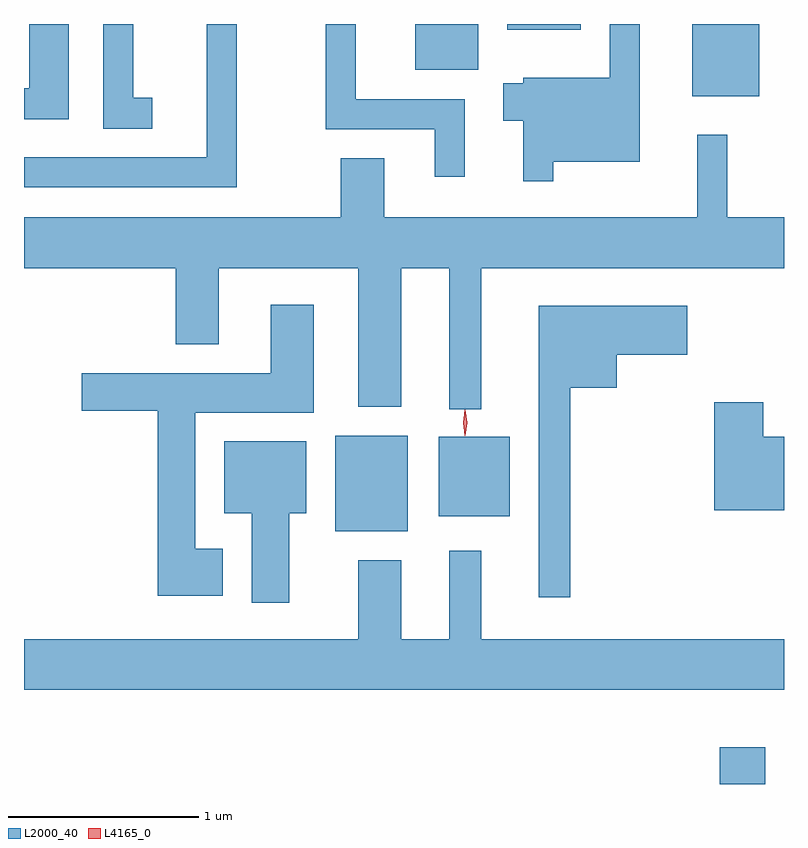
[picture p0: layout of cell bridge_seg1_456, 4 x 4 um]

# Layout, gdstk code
import gdstk
lib = gdstk.Library(unit=1e-6, precision=1e-09)
def R(c, l, rs):  # rectangles x0, y0, x1, y1
    for r in rs: c.add(gdstk.rectangle(r[:2], r[2:], *l))
def P(c, l, *ps):  # polygons
    for p in ps: c.add(gdstk.Polygon(p, *l))
L2000_40 = (2000, 40)
L4165_0 = (4165, 0)

bridge_seg1_456 = lib.new_cell('bridge_seg1_456')
R(bridge_seg1_456, L2000_40, [(206.046,876.881,206.284,877.074), (204.021,878.211,204.404,878.714), (204.566,878.291,204.939,878.709), (205.901,880.501,206.254,880.881), (204.441,880.641,204.774,880.881), (204.926,880.851,205.314,880.881)])
P(bridge_seg1_456, L2000_40, [(203.504,880.881),(203.346,880.881),(203.346,880.179),(202.383,880.179),(202.383,880.021),(203.504,880.021)],
  [(205.169,880.156),(205.624,880.156),(205.624,880.881),(205.466,880.881),(205.466,880.599),(205.011,880.599),(205.011,880.569),(204.906,880.569),(204.906,880.371),(205.011,880.371),(205.011,880.053),(205.169,880.053)],
  [(202.619,880.881),(202.411,880.881),(202.411,880.544),(202.383,880.544),(202.383,880.381),(202.619,880.381)],
  [(203.058,880.494),(202.959,880.494),(202.959,880.881),(202.801,880.881),(202.801,880.331),(203.058,880.331)],
  [(204.704,880.484),(204.129,880.484),(204.129,880.881),(203.971,880.881),(203.971,880.326),(204.546,880.326),(204.546,880.078),(204.704,880.078)],
  [(204.789,879.596),(206.383,879.596),(206.383,879.864),(206.084,879.864),(206.084,880.298),(205.926,880.298),(205.926,879.864),(204.279,879.864),(204.279,880.174),(204.051,880.174),(204.051,879.864),(202.383,879.864),(202.383,879.596),(203.181,879.596),(203.181,879.196),(203.409,879.196),(203.409,879.596),(204.141,879.596),(204.141,878.866),(204.369,878.866),(204.369,879.596),(204.621,879.596),(204.621,878.853),(204.789,878.853)],
  [(203.429,878.119),(203.284,878.119),(203.284,878.836),(203.909,878.836),(203.909,879.404),(203.681,879.404),(203.681,879.044),(202.686,879.044),(202.686,878.846),(203.086,878.846),(203.086,877.871),(203.429,877.871)],
  [(205.259,878.966),(205.504,878.966),(205.504,879.141),(205.874,879.141),(205.874,879.399),(205.091,879.399),(205.091,877.863),(205.259,877.863)],
  [(206.383,878.709),(206.274,878.709),(206.274,878.889),(206.016,878.889),(206.016,878.321),(206.383,878.321)],
  [(203.779,878.306),(203.869,878.306),(203.869,878.684),(203.436,878.684),(203.436,878.306),(203.581,878.306),(203.581,877.836),(203.779,877.836)],
  [(206.383,877.644),(204.789,877.644),(204.789,878.108),(204.621,878.108),(204.621,877.644),(204.369,877.644),(204.369,878.059),(204.141,878.059),(204.141,877.644),(202.383,877.644),(202.383,877.376),(206.383,877.376)])
P(bridge_seg1_456, L4165_0, [(204.704,878.718),(204.704,878.718),(204.694,878.782),(204.704,878.846),(204.704,878.847),(204.705,878.846),(204.714,878.782),(204.705,878.718)],
  [(204.704,878.714),(204.695,878.782),(204.704,878.85),(204.705,878.85),(204.705,878.85),(204.715,878.782),(204.705,878.714),(204.705,878.714)])

lib.write_gds('bridge_seg1_456.gds')
